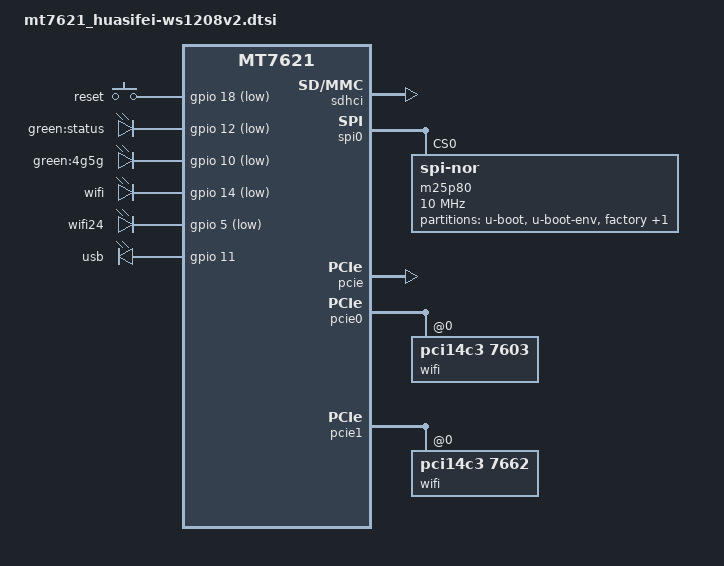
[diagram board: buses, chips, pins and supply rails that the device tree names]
#include "mt7621.dtsi"

#include <dt-bindings/gpio/gpio.h>
#include <dt-bindings/input/input.h>

/ {
	compatible = "huasifei,huasifei-ws1208v2", "mediatek,mt7621-soc";

	aliases {
		led-boot = &led_status;
		led-failsafe = &led_status;
		led-running = &led_status;
		led-upgrade = &led_status;
	};

	chosen {
		bootargs = "console=ttyS0,115200";
	};
	
	keys {
		compatible = "gpio-keys-polled";
		poll-interval = <20>;

		reset {
			label = "reset";
			gpios = <&gpio 18 GPIO_ACTIVE_LOW>;
			linux,code = <KEY_RESTART>;
		};
	};

	leds {
		compatible = "gpio-leds";

		led_status: status {
			label = "green:status";
			gpios = <&gpio 12 GPIO_ACTIVE_LOW>;
		};
		
		led_4g5g: 4g5g {
			label = "green:4g5g";
			gpios = <&gpio 10 GPIO_ACTIVE_LOW>;
		};
		
		wifi {
			label = "wifi";
			gpios = <&gpio 14 GPIO_ACTIVE_LOW>;
		};
		
		wifi24 {
			label = "wifi24";
			gpios = <&gpio 5 GPIO_ACTIVE_LOW>;
		};
		
		usb {
			label = "usb";
			gpios = <&gpio 11 GPIO_ACTIVE_HIGH>;
		};
	};
};

&sdhci {
	status = "okay";
};

&spi0 {
	status = "okay";

	m25p80@0 {
		compatible = "jedec,spi-nor";
		reg = <0>;
		spi-max-frequency = <10000000>;

		partitions {
			compatible = "fixed-partitions";
			#address-cells = <1>;
			#size-cells = <1>;

			partition@0 {
				label = "u-boot";
				reg = <0x0 0x30000>;
				read-only;
			};

			partition@30000 {
				label = "u-boot-env";
				reg = <0x30000 0x10000>;
				read-only;
			};

			factory: partition@40000 {
				label = "factory";
				reg = <0x40000 0x10000>;
				read-only;
			};

			firmware: partition@50000 {
				compatible = "denx,uimage";
				label = "firmware";
			};
		};
	};
};

&pcie {
	status = "okay";
};

&pcie0 {
	wifi@0,0 {
		compatible = "pci14c3,7603";
		reg = <0x0000 0 0 0 0>;
		mediatek,mtd-eeprom = <&factory 0x0028>;
		nvmem-cells = <&macaddr_config_0028>;
		nvmem-cell-names = "mac-address";
	};
};

&pcie1 {
	wifi@0,0 {
		compatible = "pci14c3,7662";
		reg = <0x0000 0 0 0 0>;
		mediatek,mtd-eeprom = <&factory 0x002E>;
		nvmem-cells = <&macaddr_config_0028>;
		nvmem-cell-names = "mac-address";
		mac-address-increment = <1>;
		ieee80211-freq-limit = <5000000 6000000>;

		led {
			led-sources = <2>;
		};
	};
};

&ethernet {
	pinctrl-0 = <&mdio_pins>, <&rgmii1_pins>;
};

&gmac0 {
	nvmem-cells = <&macaddr_factory_004>;
	nvmem-cell-names = "mac-address";
	mac-address-increment = <2>;
};

&switch0 {
	ports {
		port@0 {
			status = "okay";
			label = "lan1";
		};

		port@1 {
			status = "okay";
			label = "lan2";
		};

		port@2 {
			status = "okay";
			label = "lan3";
		};

		port@3 {
			status = "okay";
			label = "lan4";
		};

		port@4 {
			status = "okay";
			label = "wan";
			nvmem-cells = <&macaddr_factory_004>;
			nvmem-cell-names = "mac-address";
			mac-address-increment = <3>;
		};
	};
};

&pinctrl {
	state_default: pinctrl0 {
		gpio {
			ralink,group = "wdt", "rgmii2", "jtag", "mdio", "ic2", "uart1", "uart2", "uart3";
			ralink,function = "gpio";
		};
	};
};

&factory {
	compatible = "nvmem-cells";
	#address-cells = <1>;
	#size-cells = <1>;

	macaddr_factory_004: macaddr@004 {
		reg = <0x004 0x6>;
	};
	
	macaddr_config_0028: macaddr@0028 {
		reg = <0x0004 0x6>;
	};
};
